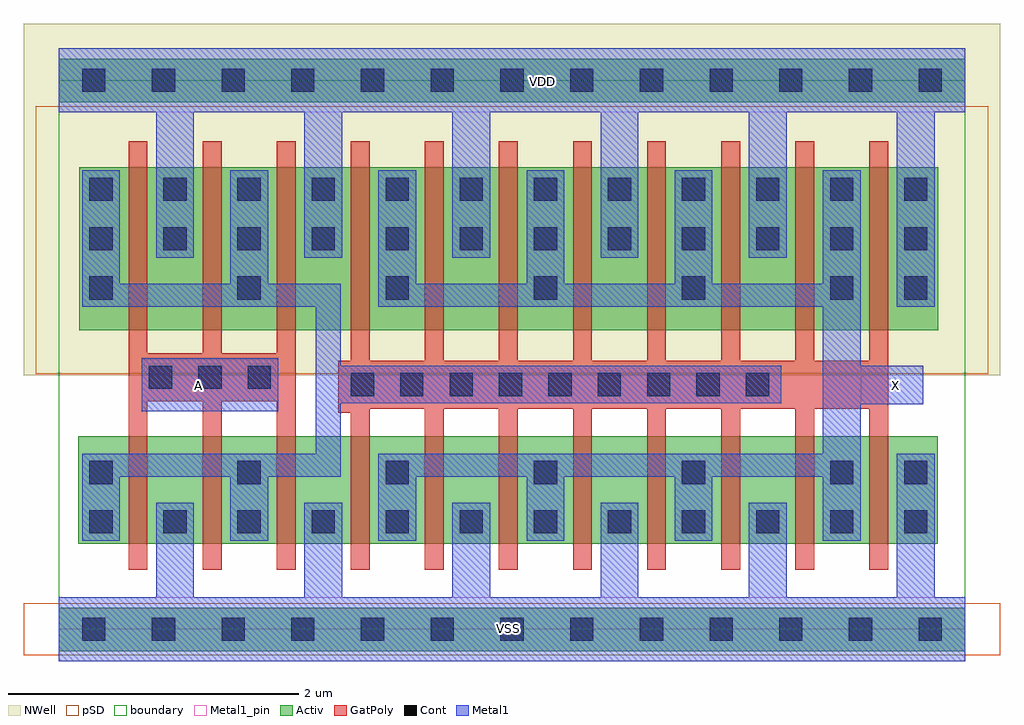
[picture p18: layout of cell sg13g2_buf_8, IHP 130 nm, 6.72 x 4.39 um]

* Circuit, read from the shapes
.subckt sg13g2_buf_8 A VDD VSS X
XM1 VSS A n1 VSS sg13_lv_nmos w=0.74u l=0.13u m=3
XM2 X n1 VSS VSS sg13_lv_nmos w=0.74u l=0.13u m=8
XM3 VDD A n1 VDD sg13_lv_pmos w=1.12u l=0.13u m=3
XM4 X n1 VDD VDD sg13_lv_pmos w=1.12u l=0.13u m=8
.ends

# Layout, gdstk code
import gdstk
lib = gdstk.Library(unit=1e-6, precision=1e-09)
def R(c, l, rs):  # rectangles x0, y0, x1, y1
    for r in rs: c.add(gdstk.rectangle(r[:2], r[2:], *l))
def P(c, l, *ps):  # polygons
    for p in ps: c.add(gdstk.Polygon(p, *l))
Activ = (1, 0)
GatPoly = (5, 0)
Cont = (6, 0)
Metal1 = (8, 0)
Metal1_pin = (8, 2)
pSD = (14, 0)
NWell = (31, 0)
boundary = (189, 4)

sg13g2_buf_8 = lib.new_cell('sg13g2_buf_8')
R(sg13g2_buf_8, Activ, [(0,-0.15,6.24,0.15), (0,-0.15,6.24,0.15), (0.135,0.59,6.05,1.33), (0.135,0.59,6.05,1.33), (0.14,2.06,6.055,3.18), (0.14,2.06,6.055,3.18), (0,3.63,6.24,3.93), (0,3.63,6.24,3.93)])
P(sg13g2_buf_8, GatPoly, [(2.01,0.41),(2.01,1.49),(1.925,1.49),(1.925,1.85),(2.01,1.85),(2.01,3.36),(2.14,3.36),(2.14,1.85),(2.52,1.85),(2.52,3.36),(2.65,3.36),(2.65,1.85),(3.03,1.85),(3.03,3.36),(3.16,3.36),(3.16,1.85),(3.54,1.85),(3.54,3.36),(3.67,3.36),(3.67,1.85),(4.05,1.85),(4.05,3.36),(4.18,3.36),(4.18,1.85),(4.56,1.85),(4.56,3.36),(4.69,3.36),(4.69,1.85),(5.07,1.85),(5.07,3.36),(5.2,3.36),(5.2,1.85),(5.58,1.85),(5.58,3.36),(5.71,3.36),(5.71,0.41),(5.58,0.41),(5.58,1.52),(5.2,1.52),(5.2,0.41),(5.07,0.41),(5.07,1.52),(4.69,1.52),(4.69,0.41),(4.56,0.41),(4.56,1.52),(4.18,1.52),(4.18,0.41),(4.05,0.41),(4.05,1.52),(3.67,1.52),(3.67,0.41),(3.54,0.41),(3.54,1.52),(3.16,1.52),(3.16,0.41),(3.03,0.41),(3.03,1.52),(2.65,1.52),(2.65,0.41),(2.52,0.41),(2.52,1.52),(2.14,1.52),(2.14,0.41)],
  [(0.48,0.41),(0.48,3.36),(0.61,3.36),(0.61,1.9),(0.99,1.9),(0.99,3.36),(1.12,3.36),(1.12,1.9),(1.5,1.9),(1.5,3.36),(1.63,3.36),(1.63,0.41),(1.5,0.41),(1.5,1.57),(1.12,1.57),(1.12,0.41),(0.99,0.41),(0.99,1.57),(0.61,1.57),(0.61,0.41)],
  [(2.01,0.41),(2.01,1.49),(1.925,1.49),(1.925,1.85),(2.01,1.85),(2.01,3.36),(2.14,3.36),(2.14,1.85),(2.52,1.85),(2.52,3.36),(2.65,3.36),(2.65,1.85),(3.03,1.85),(3.03,3.36),(3.16,3.36),(3.16,1.85),(3.54,1.85),(3.54,3.36),(3.67,3.36),(3.67,1.85),(4.05,1.85),(4.05,3.36),(4.18,3.36),(4.18,1.85),(4.56,1.85),(4.56,3.36),(4.69,3.36),(4.69,1.85),(5.07,1.85),(5.07,3.36),(5.2,3.36),(5.2,1.85),(5.58,1.85),(5.58,3.36),(5.71,3.36),(5.71,0.41),(5.58,0.41),(5.58,1.52),(5.2,1.52),(5.2,0.41),(5.07,0.41),(5.07,1.52),(4.69,1.52),(4.69,0.41),(4.56,0.41),(4.56,1.52),(4.18,1.52),(4.18,0.41),(4.05,0.41),(4.05,1.52),(3.67,1.52),(3.67,0.41),(3.54,0.41),(3.54,1.52),(3.16,1.52),(3.16,0.41),(3.03,0.41),(3.03,1.52),(2.65,1.52),(2.65,0.41),(2.52,0.41),(2.52,1.52),(2.14,1.52),(2.14,0.41)],
  [(0.48,0.41),(0.48,3.36),(0.61,3.36),(0.61,1.9),(0.99,1.9),(0.99,3.36),(1.12,3.36),(1.12,1.9),(1.5,1.9),(1.5,3.36),(1.63,3.36),(1.63,0.41),(1.5,0.41),(1.5,1.57),(1.12,1.57),(1.12,0.41),(0.99,0.41),(0.99,1.57),(0.61,1.57),(0.61,0.41)])
R(sg13g2_buf_8, Cont, [(0.16,-0.08,0.32,0.08), (0.16,-0.08,0.32,0.08), (0.16,-0.08,0.32,0.08), (0.16,-0.08,0.32,0.08), (0.64,-0.08,0.8,0.08), (0.64,-0.08,0.8,0.08), (0.64,-0.08,0.8,0.08), (0.64,-0.08,0.8,0.08), (1.12,-0.08,1.28,0.08), (1.12,-0.08,1.28,0.08), (1.12,-0.08,1.28,0.08), (1.12,-0.08,1.28,0.08), (1.6,-0.08,1.76,0.08), (1.6,-0.08,1.76,0.08), (1.6,-0.08,1.76,0.08), (1.6,-0.08,1.76,0.08), (2.08,-0.08,2.24,0.08), (2.08,-0.08,2.24,0.08), (2.08,-0.08,2.24,0.08), (2.08,-0.08,2.24,0.08), (2.56,-0.08,2.72,0.08), (2.56,-0.08,2.72,0.08), (2.56,-0.08,2.72,0.08), (2.56,-0.08,2.72,0.08), (3.04,-0.08,3.2,0.08), (3.04,-0.08,3.2,0.08), (3.04,-0.08,3.2,0.08), (3.04,-0.08,3.2,0.08), (3.52,-0.08,3.68,0.08), (3.52,-0.08,3.68,0.08), (3.52,-0.08,3.68,0.08), (3.52,-0.08,3.68,0.08), (4,-0.08,4.16,0.08), (4,-0.08,4.16,0.08), (4,-0.08,4.16,0.08), (4,-0.08,4.16,0.08), (4.48,-0.08,4.64,0.08), (4.48,-0.08,4.64,0.08), (4.48,-0.08,4.64,0.08), (4.48,-0.08,4.64,0.08), (4.96,-0.08,5.12,0.08), (4.96,-0.08,5.12,0.08), (4.96,-0.08,5.12,0.08), (4.96,-0.08,5.12,0.08), (5.44,-0.08,5.6,0.08), (5.44,-0.08,5.6,0.08), (5.44,-0.08,5.6,0.08), (5.44,-0.08,5.6,0.08), (5.92,-0.08,6.08,0.08), (5.92,-0.08,6.08,0.08), (5.92,-0.08,6.08,0.08), (5.92,-0.08,6.08,0.08), (0.21,0.66,0.37,0.82), (0.21,0.66,0.37,0.82), (0.72,0.66,0.88,0.82), (0.72,0.66,0.88,0.82), (1.23,0.66,1.39,0.82), (1.23,0.66,1.39,0.82), (1.74,0.66,1.9,0.82), (1.74,0.66,1.9,0.82), (2.25,0.66,2.41,0.82), (2.25,0.66,2.41,0.82), (2.76,0.66,2.92,0.82), (2.76,0.66,2.92,0.82), (3.27,0.66,3.43,0.82), (3.27,0.66,3.43,0.82), (3.78,0.66,3.94,0.82), (3.78,0.66,3.94,0.82), (4.29,0.66,4.45,0.82), (4.29,0.66,4.45,0.82), (4.8,0.66,4.96,0.82), (4.8,0.66,4.96,0.82), (5.31,0.66,5.47,0.82), (5.31,0.66,5.47,0.82), (5.82,0.66,5.98,0.82), (5.82,0.66,5.98,0.82), (0.21,1,0.37,1.16), (0.21,1,0.37,1.16), (1.23,1,1.39,1.16), (1.23,1,1.39,1.16), (2.25,1,2.41,1.16), (2.25,1,2.41,1.16), (3.27,1,3.43,1.16), (3.27,1,3.43,1.16), (4.29,1,4.45,1.16), (4.29,1,4.45,1.16), (5.31,1,5.47,1.16), (5.31,1,5.47,1.16), (5.82,1,5.98,1.16), (5.82,1,5.98,1.16), (2.01,1.605,2.17,1.765), (2.01,1.605,2.17,1.765), (2.35,1.605,2.51,1.765), (2.35,1.605,2.51,1.765), (2.69,1.605,2.85,1.765), (2.69,1.605,2.85,1.765), (3.03,1.605,3.19,1.765), (3.03,1.605,3.19,1.765), (3.37,1.605,3.53,1.765), (3.37,1.605,3.53,1.765), (3.71,1.605,3.87,1.765), (3.71,1.605,3.87,1.765), (4.05,1.605,4.21,1.765), (4.05,1.605,4.21,1.765), (4.39,1.605,4.55,1.765), (4.39,1.605,4.55,1.765), (4.73,1.605,4.89,1.765), (4.73,1.605,4.89,1.765), (0.62,1.655,0.78,1.815), (0.62,1.655,0.78,1.815), (0.96,1.655,1.12,1.815), (0.96,1.655,1.12,1.815), (1.3,1.655,1.46,1.815), (1.3,1.655,1.46,1.815), (0.21,2.27,0.37,2.43), (0.21,2.27,0.37,2.43), (1.23,2.27,1.39,2.43), (1.23,2.27,1.39,2.43), (2.25,2.27,2.41,2.43), (2.25,2.27,2.41,2.43), (3.27,2.27,3.43,2.43), (3.27,2.27,3.43,2.43), (4.29,2.27,4.45,2.43), (4.29,2.27,4.45,2.43), (5.31,2.27,5.47,2.43), (5.31,2.27,5.47,2.43), (5.82,2.27,5.98,2.43), (5.82,2.27,5.98,2.43), (0.21,2.61,0.37,2.77), (0.21,2.61,0.37,2.77), (0.72,2.61,0.88,2.77), (0.72,2.61,0.88,2.77), (1.23,2.61,1.39,2.77), (1.23,2.61,1.39,2.77), (1.74,2.61,1.9,2.77), (1.74,2.61,1.9,2.77), (2.25,2.61,2.41,2.77), (2.25,2.61,2.41,2.77), (2.76,2.61,2.92,2.77), (2.76,2.61,2.92,2.77), (3.27,2.61,3.43,2.77), (3.27,2.61,3.43,2.77), (3.78,2.61,3.94,2.77), (3.78,2.61,3.94,2.77), (4.29,2.61,4.45,2.77), (4.29,2.61,4.45,2.77), (4.8,2.61,4.96,2.77), (4.8,2.61,4.96,2.77), (5.31,2.61,5.47,2.77), (5.31,2.61,5.47,2.77), (5.82,2.61,5.98,2.77), (5.82,2.61,5.98,2.77), (0.21,2.95,0.37,3.11), (0.21,2.95,0.37,3.11), (0.72,2.95,0.88,3.11), (0.72,2.95,0.88,3.11), (1.23,2.95,1.39,3.11), (1.23,2.95,1.39,3.11), (1.74,2.95,1.9,3.11), (1.74,2.95,1.9,3.11), (2.25,2.95,2.41,3.11), (2.25,2.95,2.41,3.11), (2.76,2.95,2.92,3.11), (2.76,2.95,2.92,3.11), (3.27,2.95,3.43,3.11), (3.27,2.95,3.43,3.11), (3.78,2.95,3.94,3.11), (3.78,2.95,3.94,3.11), (4.29,2.95,4.45,3.11), (4.29,2.95,4.45,3.11), (4.8,2.95,4.96,3.11), (4.8,2.95,4.96,3.11), (5.31,2.95,5.47,3.11), (5.31,2.95,5.47,3.11), (5.82,2.95,5.98,3.11), (5.82,2.95,5.98,3.11), (0.16,3.7,0.32,3.86), (0.16,3.7,0.32,3.86), (0.16,3.7,0.32,3.86), (0.16,3.7,0.32,3.86), (0.64,3.7,0.8,3.86), (0.64,3.7,0.8,3.86), (0.64,3.7,0.8,3.86), (0.64,3.7,0.8,3.86), (1.12,3.7,1.28,3.86), (1.12,3.7,1.28,3.86), (1.12,3.7,1.28,3.86), (1.12,3.7,1.28,3.86), (1.6,3.7,1.76,3.86), (1.6,3.7,1.76,3.86), (1.6,3.7,1.76,3.86), (1.6,3.7,1.76,3.86), (2.08,3.7,2.24,3.86), (2.08,3.7,2.24,3.86), (2.08,3.7,2.24,3.86), (2.08,3.7,2.24,3.86), (2.56,3.7,2.72,3.86), (2.56,3.7,2.72,3.86), (2.56,3.7,2.72,3.86), (2.56,3.7,2.72,3.86), (3.04,3.7,3.2,3.86), (3.04,3.7,3.2,3.86), (3.04,3.7,3.2,3.86), (3.04,3.7,3.2,3.86), (3.52,3.7,3.68,3.86), (3.52,3.7,3.68,3.86), (3.52,3.7,3.68,3.86), (3.52,3.7,3.68,3.86), (4,3.7,4.16,3.86), (4,3.7,4.16,3.86), (4,3.7,4.16,3.86), (4,3.7,4.16,3.86), (4.48,3.7,4.64,3.86), (4.48,3.7,4.64,3.86), (4.48,3.7,4.64,3.86), (4.48,3.7,4.64,3.86), (4.96,3.7,5.12,3.86), (4.96,3.7,5.12,3.86), (4.96,3.7,5.12,3.86), (4.96,3.7,5.12,3.86), (5.44,3.7,5.6,3.86), (5.44,3.7,5.6,3.86), (5.44,3.7,5.6,3.86), (5.44,3.7,5.6,3.86), (5.92,3.7,6.08,3.86), (5.92,3.7,6.08,3.86), (5.92,3.7,6.08,3.86), (5.92,3.7,6.08,3.86)])
R(sg13g2_buf_8, Metal1, [(0.57,1.5,1.51,1.865), (0.57,1.5,1.51,1.865)])
P(sg13g2_buf_8, Metal1, [(0.16,0.61),(0.16,1.21),(1.77,1.21),(1.77,2.22),(0.16,2.22),(0.16,3.16),(0.42,3.16),(0.42,2.38),(1.18,2.38),(1.18,3.16),(1.44,3.16),(1.44,2.38),(1.94,2.38),(1.94,1.815),(4.975,1.815),(4.975,1.555),(1.94,1.555),(1.94,1.05),(1.44,1.05),(1.44,0.61),(1.18,0.61),(1.18,1.05),(0.42,1.05),(0.42,0.61)],
  [(2.2,0.61),(2.2,1.21),(5.26,1.21),(5.26,2.22),(2.2,2.22),(2.2,3.16),(2.46,3.16),(2.46,2.38),(3.22,2.38),(3.22,3.16),(3.48,3.16),(3.48,2.38),(4.24,2.38),(4.24,3.16),(4.5,3.16),(4.5,2.38),(5.26,2.38),(5.26,3.16),(5.52,3.16),(5.52,1.815),(5.95,1.815),(5.95,1.55),(5.52,1.55),(5.52,0.61),(5.26,0.61),(5.26,1.05),(4.5,1.05),(4.5,0.61),(4.24,0.61),(4.24,1.05),(3.48,1.05),(3.48,0.61),(3.22,0.61),(3.22,1.05),(2.46,1.05),(2.46,0.61)],
  [(5.77,2.22),(5.77,3.56),(5.01,3.56),(5.01,2.56),(4.75,2.56),(4.75,3.56),(3.99,3.56),(3.99,2.56),(3.73,2.56),(3.73,3.56),(2.97,3.56),(2.97,2.56),(2.71,2.56),(2.71,3.56),(1.95,3.56),(1.95,2.56),(1.69,2.56),(1.69,3.56),(0.93,3.56),(0.93,2.56),(0.67,2.56),(0.67,3.56),(0,3.56),(0,4),(6.24,4),(6.24,3.56),(6.03,3.56),(6.03,2.22)],
  [(0,-0.22),(0,0.22),(0.67,0.22),(0.67,0.87),(0.93,0.87),(0.93,0.22),(1.69,0.22),(1.69,0.87),(1.95,0.87),(1.95,0.22),(2.71,0.22),(2.71,0.87),(2.97,0.87),(2.97,0.22),(3.73,0.22),(3.73,0.87),(3.99,0.87),(3.99,0.22),(4.75,0.22),(4.75,0.87),(5.01,0.87),(5.01,0.22),(5.77,0.22),(5.77,1.21),(6.03,1.21),(6.03,0.22),(6.24,0.22),(6.24,-0.22)],
  [(0.16,0.61),(0.16,1.21),(1.77,1.21),(1.77,2.22),(0.16,2.22),(0.16,3.16),(0.42,3.16),(0.42,2.38),(1.18,2.38),(1.18,3.16),(1.44,3.16),(1.44,2.38),(1.94,2.38),(1.94,1.815),(4.975,1.815),(4.975,1.555),(1.94,1.555),(1.94,1.05),(1.44,1.05),(1.44,0.61),(1.18,0.61),(1.18,1.05),(0.42,1.05),(0.42,0.61)],
  [(2.2,0.61),(2.2,1.21),(5.26,1.21),(5.26,2.22),(2.2,2.22),(2.2,3.16),(2.46,3.16),(2.46,2.38),(3.22,2.38),(3.22,3.16),(3.48,3.16),(3.48,2.38),(4.24,2.38),(4.24,3.16),(4.5,3.16),(4.5,2.38),(5.26,2.38),(5.26,3.16),(5.52,3.16),(5.52,1.815),(5.95,1.815),(5.95,1.55),(5.52,1.55),(5.52,0.61),(5.26,0.61),(5.26,1.05),(4.5,1.05),(4.5,0.61),(4.24,0.61),(4.24,1.05),(3.48,1.05),(3.48,0.61),(3.22,0.61),(3.22,1.05),(2.46,1.05),(2.46,0.61)],
  [(5.77,2.22),(5.77,3.56),(5.01,3.56),(5.01,2.56),(4.75,2.56),(4.75,3.56),(3.99,3.56),(3.99,2.56),(3.73,2.56),(3.73,3.56),(2.97,3.56),(2.97,2.56),(2.71,2.56),(2.71,3.56),(1.95,3.56),(1.95,2.56),(1.69,2.56),(1.69,3.56),(0.93,3.56),(0.93,2.56),(0.67,2.56),(0.67,3.56),(0,3.56),(0,4),(6.24,4),(6.24,3.56),(6.03,3.56),(6.03,2.22)],
  [(0,-0.22),(0,0.22),(0.67,0.22),(0.67,0.87),(0.93,0.87),(0.93,0.22),(1.69,0.22),(1.69,0.87),(1.95,0.87),(1.95,0.22),(2.71,0.22),(2.71,0.87),(2.97,0.87),(2.97,0.22),(3.73,0.22),(3.73,0.87),(3.99,0.87),(3.99,0.22),(4.75,0.22),(4.75,0.87),(5.01,0.87),(5.01,0.22),(5.77,0.22),(5.77,1.21),(6.03,1.21),(6.03,0.22),(6.24,0.22),(6.24,-0.22)])
R(sg13g2_buf_8, Metal1_pin, [(0,-0.22,6.24,0.22), (0,-0.22,6.24,0.22), (0.57,1.5,1.51,1.865), (0.57,1.5,1.51,1.865), (5.52,1.55,5.95,1.815), (5.52,1.55,5.95,1.815), (0,3.56,6.24,4), (0,3.56,6.24,4)])
R(sg13g2_buf_8, pSD, [(-0.24,-0.18,6.48,0.18), (-0.24,-0.18,6.48,0.18), (-0.16,1.76,6.4,3.6), (-0.16,1.76,6.4,3.6)])
R(sg13g2_buf_8, NWell, [(-0.24,1.75,6.48,4.17), (-0.24,1.75,6.48,4.17)])
R(sg13g2_buf_8, boundary, [(0,0,6.24,3.78), (0,0,6.24,3.78)])
sg13g2_buf_8.add(gdstk.Label('X', (5.76,1.68), layer=8, texttype=25))
sg13g2_buf_8.add(gdstk.Label('VDD', (3.33,3.775), layer=8, texttype=25))
sg13g2_buf_8.add(gdstk.Label('A', (0.96,1.68), layer=8, texttype=25))
sg13g2_buf_8.add(gdstk.Label('VSS', (3.095,0.005), layer=8, texttype=25))
sg13g2_buf_8.add(gdstk.Label('X', (5.76,1.68), layer=8, texttype=25))
sg13g2_buf_8.add(gdstk.Label('VDD', (3.33,3.775), layer=8, texttype=25))
sg13g2_buf_8.add(gdstk.Label('A', (0.96,1.68), layer=8, texttype=25))
sg13g2_buf_8.add(gdstk.Label('VSS', (3.095,0.005), layer=8, texttype=25))

lib.write_gds('sg13g2_buf_8.gds')
